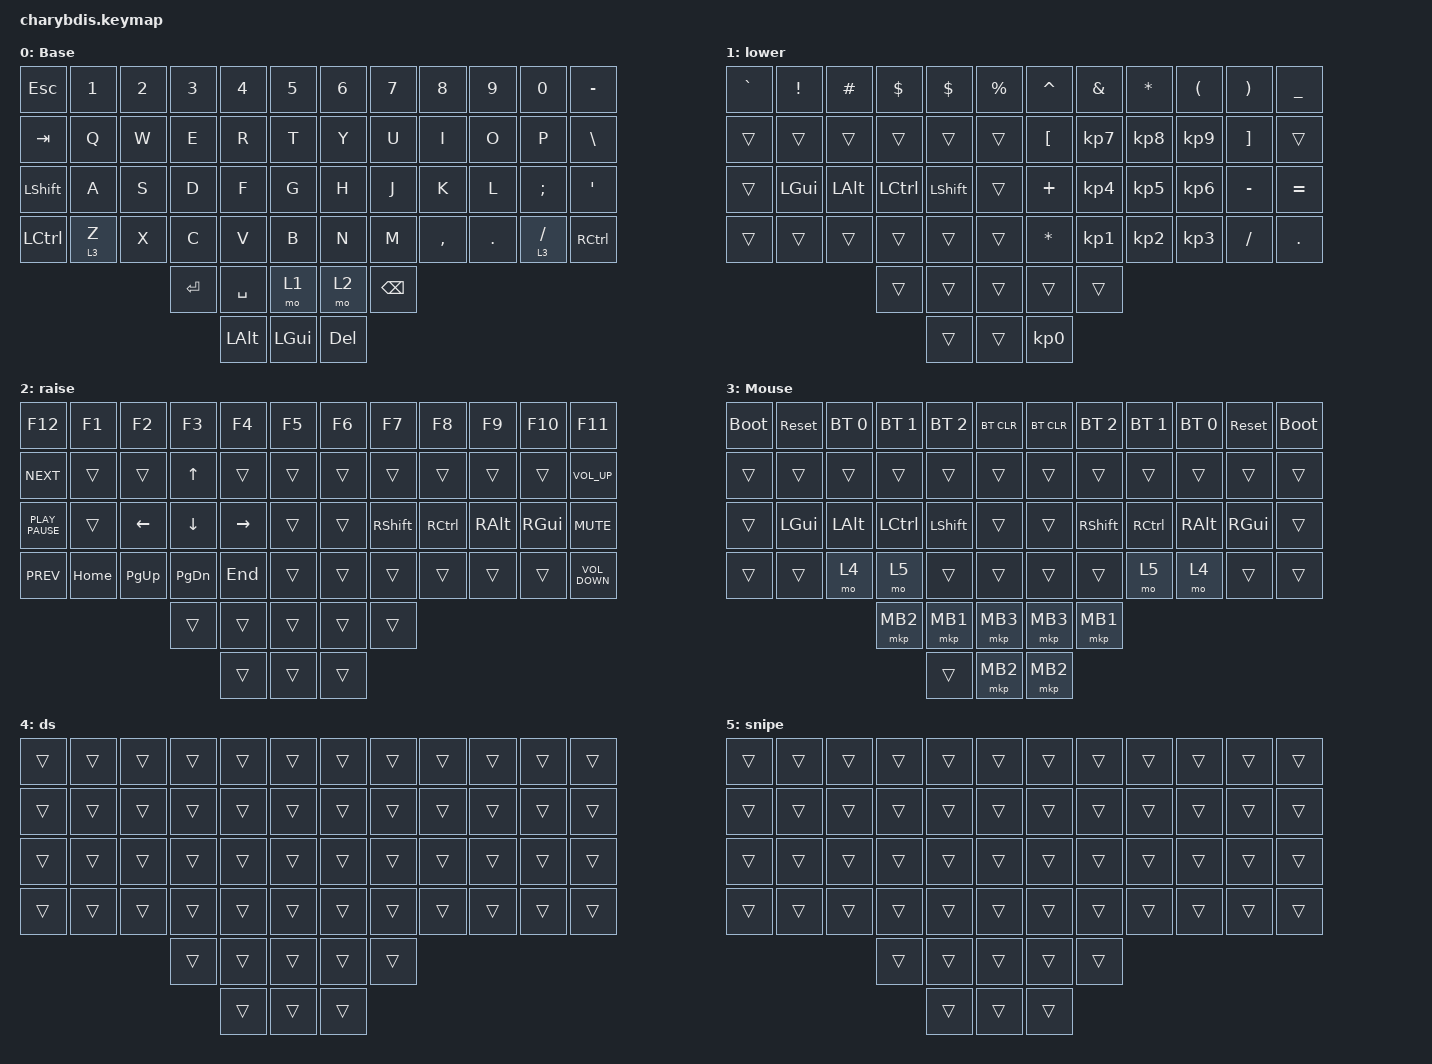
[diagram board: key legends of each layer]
#include <dt-bindings/zmk/mouse.h>
#include <behaviors.dtsi>
#include <dt-bindings/zmk/bt.h>
#include <dt-bindings/zmk/keys.h>
#include <dt-bindings/zmk/pointing.h>

&lt {
    tapping-term-ms = <200>;
    flavor = "balanced";
    quick-tap-ms = <150>;
};

/ {
    combos {
        compatible = "zmk,combos";

        escc {
            bindings = <&kp ESC>;
            key-positions = <17 18>;
            layers = <0>;
        };
    };

    keymap {
        compatible = "zmk,keymap";

        Base {
            bindings = <
&kp ESC         &kp N1   &kp N2  &kp N3     &kp N4        &kp N5      &kp N6      &kp N7         &kp N8     &kp N9   &kp N0       &kp MINUS
&kp TAB         &kp Q    &kp W   &kp E      &kp R         &kp T       &kp Y       &kp U          &kp I      &kp O    &kp P        &kp BACKSLASH
&kp LEFT_SHIFT  &kp A    &kp S   &kp D      &kp F         &kp G       &kp H       &kp J          &kp K      &kp L    &kp SEMI     &kp APOS
&kp LCTRL       &lt 3 Z  &kp X   &kp C      &kp V         &kp B       &kp N       &kp M          &kp COMMA  &kp DOT  &lt 3 SLASH  &kp RCTRL
                                 &kp ENTER  &kp SPACE     &mo 1       &mo 2       &kp BACKSPACE
                                            &kp LEFT_ALT  &kp LGUI    &kp DELETE
            >;

            trackball-bindings = <&tmv_coarse>;
        };

        lower {
            bindings = <
&kp GRAVE  &kp EXCLAMATION  &kp HASH  &kp DOLLAR  &kp DOLLAR  &kp PERCENT    &kp CARET         &kp AMPERSAND    &kp ASTERISK     &kp LEFT_PARENTHESIS  &kp RIGHT_PARENTHESIS  &kp UNDERSCORE
&trans     &trans           &trans    &trans      &trans      &trans         &kp LEFT_BRACKET  &kp KP_NUMBER_7  &kp KP_NUMBER_8  &kp KP_NUMBER_9       &kp RIGHT_BRACKET      &trans
&trans     &kp LGUI         &kp LALT  &kp LCTRL   &kp LSHIFT  &trans         &kp PLUS          &kp KP_NUMBER_4  &kp KP_NUMBER_5  &kp KP_NUMBER_6       &kp MINUS              &kp EQUAL
&trans     &trans           &trans    &trans      &trans      &trans         &kp ASTERISK      &kp KP_NUMBER_1  &kp KP_NUMBER_2  &kp KP_NUMBER_3       &kp SLASH              &kp PERIOD
                                      &trans      &trans      &trans         &trans            &trans
                                                  &trans      &trans         &kp KP_N0
            >;
        };

        raise {
            bindings = <
&kp F12           &kp F1    &kp F2       &kp F3         &kp F4     &kp F5    &kp F6  &kp F7      &kp F8     &kp F9    &kp F10   &kp F11
&kp K_NEXT        &trans    &trans       &kp UP_ARROW   &trans     &trans    &trans  &trans      &trans     &trans    &trans    &kp K_VOLUME_UP
&kp K_PLAY_PAUSE  &trans    &kp LEFT     &kp DOWN       &kp RIGHT  &trans    &trans  &kp RSHIFT  &kp RCTRL  &kp RALT  &kp RGUI  &kp K_MUTE
&kp K_PREV        &kp HOME  &kp PAGE_UP  &kp PAGE_DOWN  &kp END    &trans    &trans  &trans      &trans     &trans    &trans    &kp K_VOLUME_DOWN
                                         &trans         &trans     &trans    &trans  &trans
                                                        &trans     &trans    &trans
            >;
        };

        Mouse {
            bindings = <
&bootloader  &sys_reset  &bt BT_SEL 0  &bt BT_SEL 1  &bt BT_SEL 2  &bt BT_CLR    &bt BT_CLR  &bt BT_SEL 2  &bt BT_SEL 1  &bt BT_SEL 0  &sys_reset  &bootloader
&trans       &trans      &trans        &trans        &trans        &trans        &trans      &trans        &trans        &trans        &trans      &trans
&trans       &kp LGUI    &kp LALT      &kp LCTRL     &kp LSHIFT    &trans        &trans      &kp RSHIFT    &kp RCTRL     &kp RALT      &kp RGUI    &trans
&trans       &trans      &mo 4         &mo 5         &trans        &trans        &trans      &trans        &mo 5         &mo 4         &trans      &trans
                                       &mkp MB2      &mkp MB1      &mkp MB3      &mkp MB3    &mkp MB1
                                                     &trans        &mkp MB2      &mkp MB2
            >;
        };

        ds {
            bindings = <
&trans  &trans  &trans  &trans  &trans  &trans    &trans  &trans  &trans  &trans  &trans  &trans
&trans  &trans  &trans  &trans  &trans  &trans    &trans  &trans  &trans  &trans  &trans  &trans
&trans  &trans  &trans  &trans  &trans  &trans    &trans  &trans  &trans  &trans  &trans  &trans
&trans  &trans  &trans  &trans  &trans  &trans    &trans  &trans  &trans  &trans  &trans  &trans
                        &trans  &trans  &trans    &trans  &trans
                                &trans  &trans    &trans
            >;

            trackball-bindings = <&tsl>;//滚轮层
        };

        snipe {
            bindings = <
&trans  &trans  &trans  &trans  &trans  &trans    &trans  &trans  &trans  &trans  &trans  &trans
&trans  &trans  &trans  &trans  &trans  &trans    &trans  &trans  &trans  &trans  &trans  &trans
&trans  &trans  &trans  &trans  &trans  &trans    &trans  &trans  &trans  &trans  &trans  &trans
&trans  &trans  &trans  &trans  &trans  &trans    &trans  &trans  &trans  &trans  &trans  &trans
                        &trans  &trans  &trans    &trans  &trans
                                &trans  &trans    &trans
            >;

            trackball-bindings = <&tmv_fine>;//精准指针层
        };
    };
};
